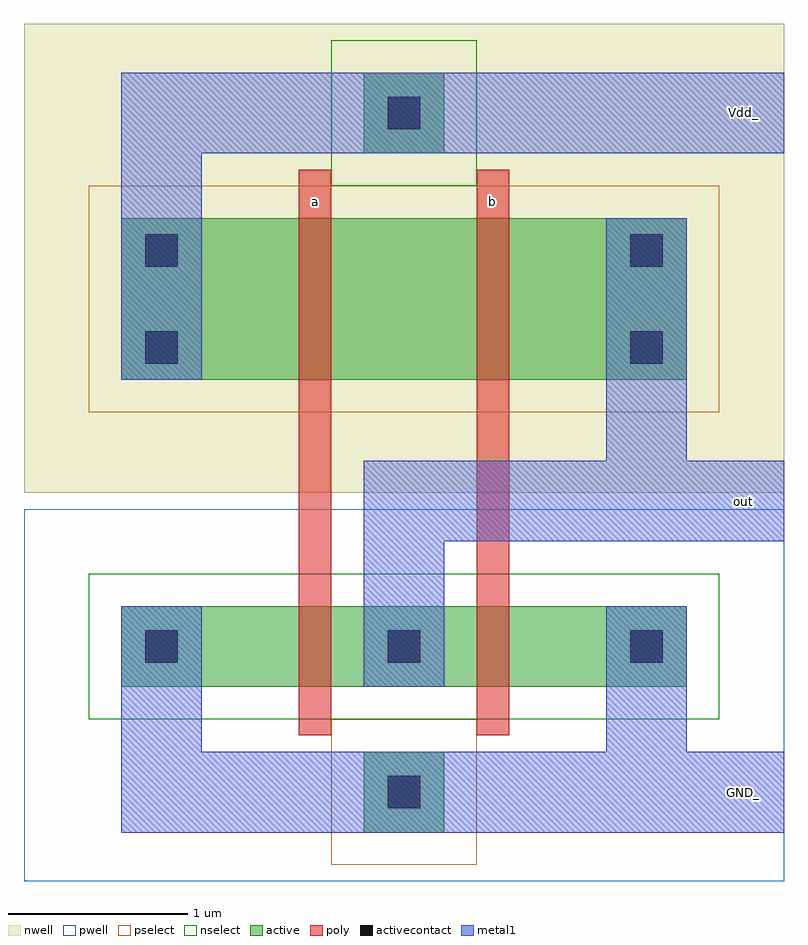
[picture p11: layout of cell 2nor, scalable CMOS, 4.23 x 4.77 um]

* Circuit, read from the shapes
.subckt 2nor GND_ Vdd_ a b out
M1 out a GND_ GND_ nfet w=0.45u l=0.18u
M2 GND_ b out GND_ nfet w=0.45u l=0.18u
M3 n1 a Vdd_ Vdd_ pfet w=0.9u l=0.18u
M4 out b n1 Vdd_ pfet w=0.9u l=0.18u
.ends

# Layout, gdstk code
import gdstk
lib = gdstk.Library(unit=1e-6, precision=1e-09)
def R(c, l, rs):  # rectangles x0, y0, x1, y1
    for r in rs: c.add(gdstk.rectangle(r[:2], r[2:], *l))
def A(c, l, x, y, w, h, nx, ny, dx, dy):  # array of equal rectangles
    R(c, l, [(x+i*dx, y+j*dy, x+i*dx+w, y+j*dy+h) for i in range(nx) for j in range(ny)])
pwell = (41, 0)
nwell = (42, 0)
active = (43, 0)
pselect = (44, 0)
nselect = (45, 0)
poly = (46, 0)
activecontact = (48, 0)
metal1 = (49, 0)

c_2nor = lib.new_cell('2nor')
R(c_2nor, pwell, [(6.12,2.52,10.35,4.59)])
R(c_2nor, nwell, [(6.12,4.68,10.35,7.29)])
R(c_2nor, active, [(8.01,2.79,8.46,3.24), (6.66,3.6,9.81,4.05), (6.66,5.31,9.81,6.21), (8.01,6.57,8.46,7.02)])
R(c_2nor, pselect, [(7.83,2.61,8.64,3.42), (6.48,5.13,9.99,6.39)])
R(c_2nor, nselect, [(6.48,3.42,9.99,4.23), (7.83,6.39,8.64,7.2)])
R(c_2nor, poly, [(7.65,3.33,7.83,6.48), (8.64,3.33,8.82,6.48)])
A(c_2nor, activecontact, 6.795, 3.735, 0.18, 0.18, 3, 1, 1.35, 0)
R(c_2nor, activecontact, [(8.145,2.925,8.325,3.105), (6.795,5.4,6.975,5.58), (9.495,5.4,9.675,5.58), (6.795,5.94,6.975,6.12), (9.495,5.94,9.675,6.12), (8.145,6.705,8.325,6.885)])
R(c_2nor, metal1, [(6.66,2.79,10.35,3.24), (6.66,3.24,7.11,4.05), (9.36,3.24,9.81,4.05), (8.01,3.6,8.46,4.41), (8.01,4.41,10.35,4.86), (9.36,4.86,9.81,6.21), (6.66,5.31,7.11,6.57), (6.66,6.57,10.35,7.02)])
c_2nor.add(gdstk.Label('out', (10.125,4.635), layer=49, texttype=0))
c_2nor.add(gdstk.Label('GND_', (10.125,3.015), layer=49, texttype=0))
c_2nor.add(gdstk.Label('a', (7.74,6.3), layer=46, texttype=0))
c_2nor.add(gdstk.Label('b', (8.73,6.3), layer=46, texttype=0))
c_2nor.add(gdstk.Label('Vdd_', (10.125,6.795), layer=49, texttype=0))

lib.write_gds('2nor.gds')
